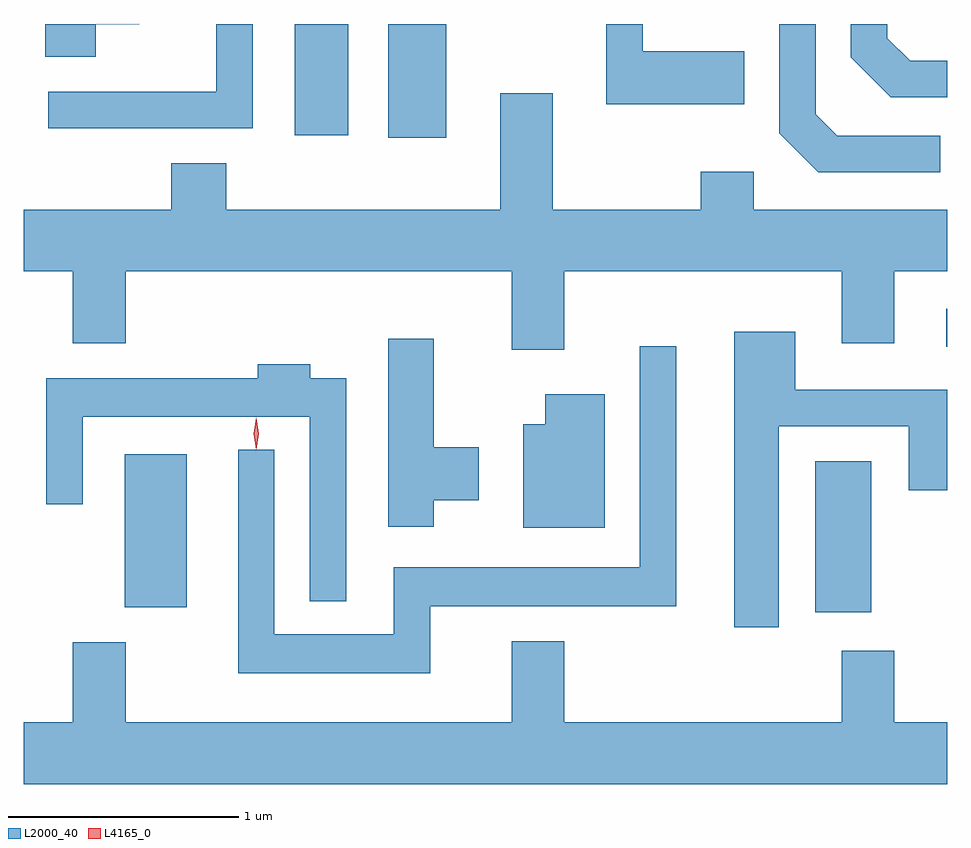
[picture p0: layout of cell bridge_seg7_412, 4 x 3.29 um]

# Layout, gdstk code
import gdstk
lib = gdstk.Library(unit=1e-6, precision=1e-09)
def R(c, l, rs):  # rectangles x0, y0, x1, y1
    for r in rs: c.add(gdstk.rectangle(r[:2], r[2:], *l))
def P(c, l, *ps):  # polygons
    for p in ps: c.add(gdstk.Polygon(p, *l))
L2000_40 = (2000, 40)
L4165_0 = (4165, 0)

bridge_seg7_412 = lib.new_cell('bridge_seg7_412')
R(bridge_seg7_412, L2000_40, [(1138.816,1670.661,1139.059,1671.314), (1135.826,1670.681,1136.094,1671.344), (1139.383,1671.811,1139.388,1671.974), (1136.966,1672.716,1137.219,1673.208), (1136.561,1672.726,1136.794,1673.208)])
P(bridge_seg7_412, L2000_40, [(1138.509,1673.089),(1138.069,1673.089),(1138.069,1673.208),(1137.911,1673.208),(1137.911,1672.861),(1138.509,1672.861)],
  [(1139.358,1672.724),(1138.912,1672.724),(1138.819,1672.817),(1138.819,1673.208),(1138.661,1673.208),(1138.661,1672.734),(1138.829,1672.566),(1139.358,1672.566)],
  [(1136.379,1673.208),(1136.221,1673.208),(1136.221,1672.914),(1135.493,1672.914),(1135.493,1672.756),(1136.379,1672.756)],
  [(1135.699,1673.206),(1135.889,1673.206),(1135.889,1673.208),(1135.481,1673.208),(1135.481,1673.066),(1135.699,1673.066)],
  [(1139.388,1673.049),(1139.227,1673.049),(1139.129,1673.147),(1139.129,1673.208),(1138.971,1673.208),(1138.971,1673.064),(1139.144,1672.891),(1139.388,1672.891)],
  [(1137.679,1672.909),(1137.451,1672.909),(1137.451,1672.404),(1136.264,1672.404),(1136.264,1672.604),(1136.026,1672.604),(1136.026,1672.404),(1135.388,1672.404),(1135.388,1672.136),(1135.601,1672.136),(1135.601,1671.826),(1135.829,1671.826),(1135.829,1672.136),(1137.501,1672.136),(1137.501,1671.796),(1137.729,1671.796),(1137.729,1672.136),(1138.931,1672.136),(1138.931,1671.826),(1139.159,1671.826),(1139.159,1672.136),(1139.388,1672.136),(1139.388,1672.404),(1138.549,1672.404),(1138.549,1672.569),(1138.321,1672.569),(1138.321,1672.404),(1137.679,1672.404)],
  [(1138.659,1671.466),(1139.221,1671.466),(1139.221,1671.188),(1139.388,1671.188),(1139.388,1671.624),(1138.729,1671.624),(1138.729,1671.874),(1138.466,1671.874),(1138.466,1670.596),(1138.659,1670.596)],
  [(1137.164,1671.146),(1137.359,1671.146),(1137.359,1671.374),(1137.164,1671.374),(1137.164,1671.844),(1136.966,1671.844),(1136.966,1671.031),(1137.164,1671.031)],
  [(1137.149,1670.686),(1138.214,1670.686),(1138.214,1671.813),(1138.056,1671.813),(1138.056,1670.854),(1136.991,1670.854),(1136.991,1670.564),(1136.474,1670.564),(1136.474,1671.363),(1136.316,1671.363),(1136.316,1670.396),(1137.149,1670.396)],
  [(1136.784,1671.674),(1136.629,1671.674),(1136.629,1671.734),(1136.401,1671.734),(1136.401,1671.674),(1135.486,1671.674),(1135.486,1671.128),(1135.644,1671.128),(1135.644,1671.506),(1136.626,1671.506),(1136.626,1670.708),(1136.784,1670.708)],
  [(1137.904,1671.604),(1137.646,1671.604),(1137.646,1671.474),(1137.551,1671.474),(1137.551,1671.026),(1137.904,1671.026)],
  [(1139.388,1670.184),(1139.159,1670.184),(1139.159,1670.494),(1138.931,1670.494),(1138.931,1670.184),(1137.729,1670.184),(1137.729,1670.534),(1137.501,1670.534),(1137.501,1670.184),(1135.829,1670.184),(1135.829,1670.529),(1135.601,1670.529),(1135.601,1670.184),(1135.388,1670.184),(1135.388,1669.916),(1139.388,1669.916)])
P(bridge_seg7_412, L4165_0, [(1136.394,1671.364),(1136.385,1671.434),(1136.394,1671.502),(1136.395,1671.503),(1136.395,1671.502),(1136.405,1671.434),(1136.395,1671.364),(1136.395,1671.364)],
  [(1136.395,1671.367),(1136.395,1671.367),(1136.386,1671.434),(1136.395,1671.5),(1136.396,1671.5),(1136.396,1671.5),(1136.405,1671.434),(1136.396,1671.367)])

lib.write_gds('bridge_seg7_412.gds')
